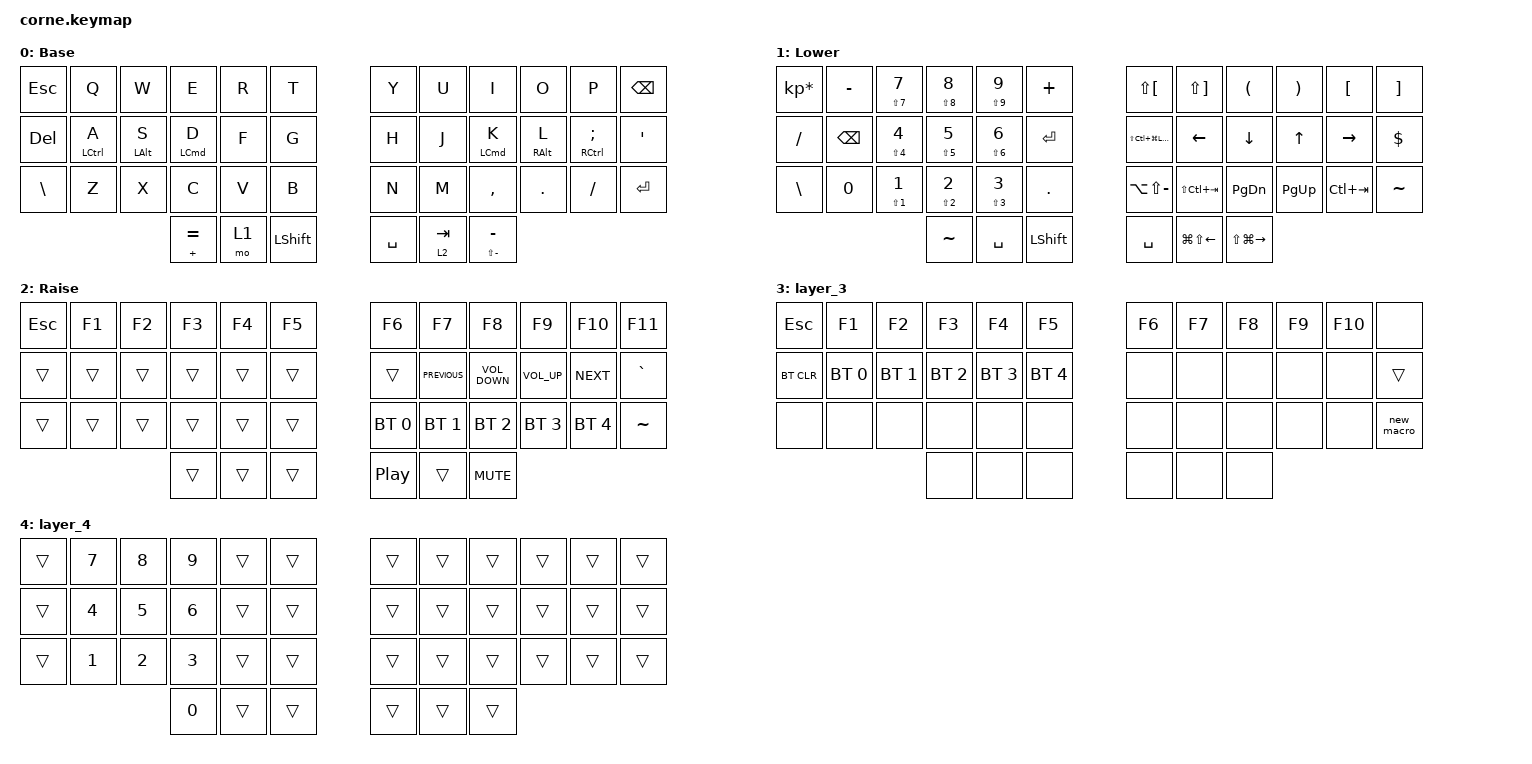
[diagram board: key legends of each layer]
/*
 * Copyright (c) 2020 The ZMK Contributors
 *
 * SPDX-License-Identifier: MIT
 */

#include "zmk-helpers/helper.h"

// Source desired key-position labels

#include "zmk-helpers/key-labels/42.h"
#include <behaviors.dtsi>
#include <dt-bindings/zmk/bt.h>
#include <dt-bindings/zmk/keys.h>

/ {
    behaviors {
        hmr: hmr {
            compatible = "zmk,behavior-hold-tap";
            label = "HMR";
            bindings = <&kp>, <&kp>;

            #binding-cells = <2>;
            tapping-term-ms = <280>;
            quick-tap-ms = <175>;
            flavor = "tap-preferred";
            hold-trigger-key-positions = <0 1 2 3 4 5 12 13 14 15 16 17 24 25 26 27 28 29 36 37 38 41 40 39>;
            hold-trigger-on-release;
        };

        hml: hml {
            compatible = "zmk,behavior-hold-tap";
            label = "HML";
            bindings = <&kp>, <&kp>;

            #binding-cells = <2>;
            tapping-term-ms = <280>;
            quick-tap-ms = <175>;
            flavor = "tap-preferred";
            hold-trigger-key-positions = <6 6 7 8 9 10 11 18 19 20 21 22 23 30 31 32 33 34 35 39 40 41 38 37 36>;
            hold-trigger-on-release;
        };
    };

    macros {
        new_macro: new_macro {
            compatible = "zmk,behavior-macro";
            #binding-cells = <0>;
            bindings = <&none &kp LS(A) &kp N9 &kp N1 &kp N7 &kp N0 &kp N8 &kp N7 &kp P &kp N1 &kp N7 &kp N9 &kp N8 &kp N4 &kp N0 &kp N5 &kp N0>;
            label = "NEW_MACRO";
        };
    };

    keymap {
        compatible = "zmk,keymap";

        default_layer {
            // -----------------------------------------------------------------------------------------
            // |  TAB |  Q  |  W  |  E  |  R  |  T  |   |  Y  |  U   |  I  |  O  |  P  | BKSP |
            // | CTRL |  A  |  S  |  D  |  F  |  G  |   |  H  |  J   |  K  |  L  |  ;  |  '   |
            // | SHFT |  Z  |  X  |  C  |  V  |  B  |   |  N  |  M   |  ,  |  .  |  /  | ESC  |
            //                    | GUI | LWR | SPC |   | ENT | RSE  | ALT |

            display-name = "Base";
            bindings = <
&kp ESCAPE     &kp Q                &kp W            &kp E                &kp R  &kp T             &kp Y      &kp U      &kp I                 &kp O             &kp P                         &kp BSPC
&kp DELETE     &hml LEFT_CONTROL A  &hml LEFT_ALT S  &hml LEFT_COMMAND D  &kp F  &kp G             &kp H      &kp J      &hmr LEFT_COMMAND K   &hmr RIGHT_ALT L  &hmr RIGHT_CONTROL SEMICOLON  &kp SQT
&kp BACKSLASH  &kp Z                &kp X            &kp C                &kp V  &kp B             &kp N      &kp M      &kp COMMA             &kp DOT           &kp FSLH                      &kp ENTER
                                                     &hml PLUS EQUAL      &mo 1  &kp LEFT_SHIFT    &kp SPACE  &lt 2 TAB  &hmr LS(MINUS) MINUS
            >;
        };

        lower_layer {
            // -----------------------------------------------------------------------------------------
            // |  TAB |  1  |  2  |  3  |  4  |  5  |   |  6  |  7  |  8  |  9  |  0  | BKSP |
            // | BTCLR| BT1 | BT2 | BT3 | BT4 | BT5 |   | LFT | DWN |  UP | RGT |     |      |
            // | SHFT |     |     |     |     |     |   |     |     |     |     |     |      |
            //                    | GUI |     | SPC |   | ENT |     | ALT |

            display-name = "Lower";
            bindings = <
&kp KP_MULTIPLY  &kp MINUS      &mt LS(N7) N7              &mt LS(N8) N8              &mt LS(N9) N9              &kp PLUS          &kp LS(LEFT_BRACKET)      &kp LS(RIGHT_BRACKET)  &kp LEFT_PARENTHESIS  &kp RIGHT_PARENTHESIS  &kp LEFT_BRACKET  &kp RIGHT_BRACKET
&kp SLASH        &kp BACKSPACE  &mt LS(NUMBER_4) NUMBER_4  &mt LS(N5) N5              &mt LS(NUMBER_6) NUMBER_6  &kp RET           &kp LS(LC(LG(LEFT_ALT)))  &kp LEFT               &kp DOWN              &kp UP_ARROW           &kp RIGHT         &kp DOLLAR
&kp BACKSLASH    &kp N0         &mt LS(NUMBER_1) NUMBER_1  &mt LS(NUMBER_2) NUMBER_2  &mt LS(NUMBER_3) NUMBER_3  &kp PERIOD        &kp LA(LS(MINUS))         &kp LS(LC(TAB))        &kp PAGE_DOWN         &kp PAGE_UP            &kp LC(TAB)       &kp TILDE
                                                           &kp TILDE                  &kp SPACE                  &kp LEFT_SHIFT    &kp SPACE                 &kp LG(LS(LEFT))       &kp LS(LG(RIGHT))
            >;
        };

        raise_layer {
            // -----------------------------------------------------------------------------------------
            // |  TAB |  !  |  @  |  #  |  $  |  %  |   |  ^  |  &  |  *  |  (  |  )  | BKSP |
            // | CTRL |     |     |     |     |     |   |  -  |  =  |  [  |  ]  |  \  |  `   |
            // | SHFT |     |     |     |     |     |   |  _  |  +  |  {  |  }  | "|" |  ~   |
            //                    | GUI |     | SPC |   | ENT |     | ALT |

            display-name = "Raise";
            bindings = <
&kp ESC  &kp F1  &kp F2  &kp F3  &kp F4  &kp F5    &kp F6            &kp F7          &kp F8             &kp F9           &kp F10       &kp F11
&trans   &trans  &trans  &trans  &trans  &trans    &trans            &kp C_PREVIOUS  &kp K_VOLUME_DOWN  &kp K_VOLUME_UP  &kp C_NEXT    &kp GRAVE
&trans   &trans  &trans  &trans  &trans  &trans    &bt BT_SEL 0      &bt BT_SEL 1    &bt BT_SEL 2       &bt BT_SEL 3     &bt BT_SEL 4  &kp TILDE
                         &trans  &trans  &trans    &kp C_PLAY_PAUSE  &trans          &kp C_MUTE
            >;
        };

        layer_3 {
            bindings = <
&kp ESCAPE  &kp F1        &kp F2        &kp F3        &kp F4        &kp F5          &kp F6  &kp F7  &kp F8  &kp F9  &kp F10  &none
&bt BT_CLR  &bt BT_SEL 0  &bt BT_SEL 1  &bt BT_SEL 2  &bt BT_SEL 3  &bt BT_SEL 4    &none   &none   &none   &none   &none    &trans
&none       &none         &none         &none         &none         &none           &none   &none   &none   &none   &none    &new_macro
                                        &none         &none         &none           &none   &none   &none
            >;
        };

        layer_4 {
            bindings = <
&trans  &kp N7        &kp N8        &kp N9        &trans  &trans    &trans  &trans  &trans  &trans  &trans  &trans
&trans  &kp NUMBER_4  &kp N5        &kp NUMBER_6  &trans  &trans    &trans  &trans  &trans  &trans  &trans  &trans
&trans  &kp NUMBER_1  &kp NUMBER_2  &kp NUMBER_3  &trans  &trans    &trans  &trans  &trans  &trans  &trans  &trans
                                    &kp N0        &trans  &trans    &trans  &trans  &trans
            >;
        };
    };

    conditional_layers {
        compatible = "zmk,conditional-layers";

        Layer3 {
            if-layers = <1 2>;
            then-layer = <3>;
        };

        Numpad {
            if-layers = <0>;
            then-layer = <3>;
        };
    };
};
